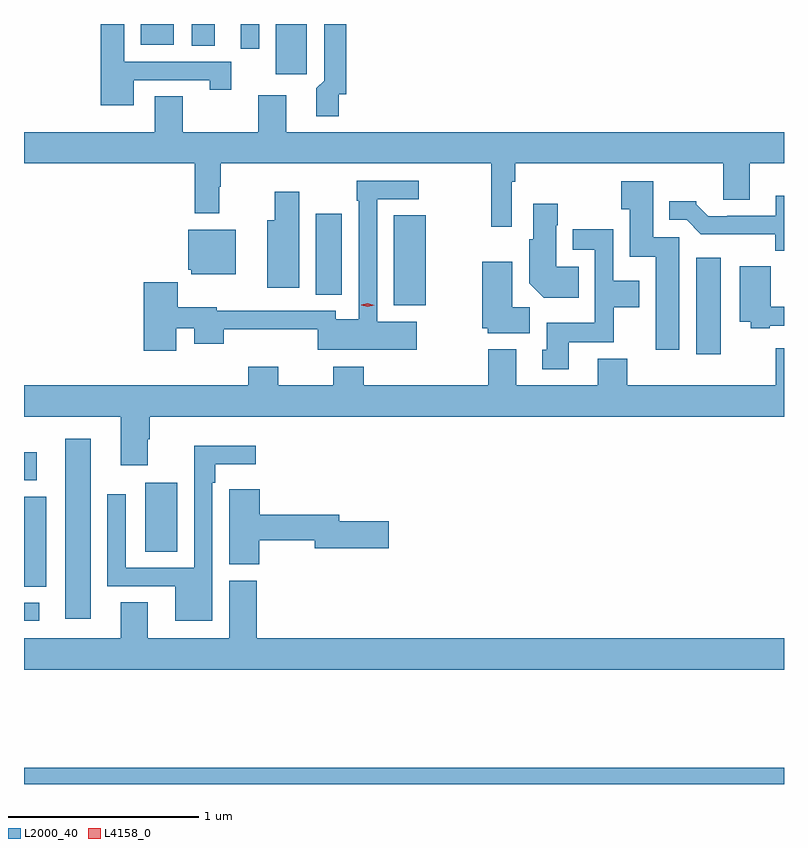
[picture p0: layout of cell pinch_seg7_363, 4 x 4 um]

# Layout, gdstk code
import gdstk
lib = gdstk.Library(unit=1e-6, precision=1e-09)
def R(c, l, rs):  # rectangles x0, y0, x1, y1
    for r in rs: c.add(gdstk.rectangle(r[:2], r[2:], *l))
def P(c, l, *ps):  # polygons
    for p in ps: c.add(gdstk.Polygon(p, *l))
L2000_40 = (2000, 40)
L4158_0 = (4158, 0)

pinch_seg7_363 = lib.new_cell('pinch_seg7_363')
R(pinch_seg7_363, L2000_40, [(396.47,1001.346,400.47,1001.432), (396.47,1002.204,396.55,1002.3), (396.686,1002.216,396.82,1003.162), (396.47,1002.385,396.586,1002.859), (397.109,1002.568,397.276,1002.931), (396.47,1002.944,396.538,1003.093), (400.007,1003.608,400.138,1004.116), (398.417,1003.865,398.584,1004.339), (398.006,1003.921,398.143,1004.347), (397.796,1005.081,397.959,1005.346), (397.611,1005.216,397.707,1005.346), (397.352,1005.232,397.474,1005.346), (397.085,1005.236,397.258,1005.346)])
P(pinch_seg7_363, L2000_40, [(398.126,1004.976),(398.165,1004.976),(398.165,1005.346),(398.049,1005.346),(398.049,1005.048),(398.008,1005.007),(398.008,1004.861),(398.126,1004.861)],
  [(397.048,1005.051),(397.448,1005.051),(397.448,1005),(397.561,1005),(397.561,1005.147),(396.997,1005.147),(396.997,1005.346),(396.874,1005.346),(396.874,1004.919),(397.048,1004.919)],
  [(397.305,1004.966),(397.157,1004.966),(397.157,1004.776),(396.47,1004.776),(396.47,1004.612),(397.369,1004.612),(397.369,1004.349),(397.498,1004.349),(397.498,1004.489),(397.505,1004.489),(397.505,1004.612),(398.928,1004.612),(398.928,1004.28),(399.036,1004.28),(399.036,1004.516),(399.056,1004.516),(399.056,1004.612),(400.151,1004.612),(400.151,1004.422),(400.291,1004.422),(400.291,1004.612),(400.47,1004.612),(400.47,1004.776),(397.849,1004.776),(397.849,1004.971),(397.702,1004.971),(397.702,1004.776),(397.305,1004.776)],
  [(397.27,1003.746),(397.367,1003.746),(397.367,1003.664),(397.52,1003.664),(397.52,1003.739),(398.016,1003.739),(398.016,1003.631),(398.536,1003.631),(398.536,1003.78),(398.328,1003.78),(398.328,1004.424),(398.548,1004.424),(398.548,1004.52),(398.22,1004.52),(398.22,1004.417),(398.232,1004.417),(398.232,1003.792),(398.112,1003.792),(398.112,1003.836),(397.7,1003.836),(397.7,1003.838),(397.485,1003.838),(397.485,1003.855),(397.278,1003.855),(397.278,1003.987),(397.1,1003.987),(397.1,1003.626),(397.27,1003.626)],
  [(399.919,1004.223),(399.781,1004.223),(399.781,1004.518),(399.613,1004.518),(399.613,1004.371),(399.659,1004.371),(399.659,1004.12),(399.794,1004.12),(399.794,1003.632),(399.919,1003.632)],
  [(397.918,1004.464),(397.789,1004.464),(397.789,1004.314),(397.751,1004.314),(397.751,1003.958),(397.918,1003.958)],
  [(400.47,1004.443),(400.427,1004.443),(400.427,1004.337),(400.171,1004.337),(400.171,1004.334),(400.072,1004.334),(400.008,1004.398),(400.008,1004.413),(399.866,1004.413),(399.866,1004.316),(399.957,1004.316),(400.033,1004.24),(400.425,1004.24),(400.425,1004.153),(400.47,1004.153)],
  [(399.389,1004.068),(399.271,1004.068),(399.271,1004.288),(399.279,1004.288),(399.279,1004.401),(399.149,1004.401),(399.149,1004.214),(399.128,1004.214),(399.128,1003.982),(399.206,1003.904),(399.389,1003.904)],
  [(399.337,1003.67),(399.573,1003.67),(399.573,1003.856),(399.709,1003.856),(399.709,1003.996),(399.57,1003.996),(399.57,1004.266),(399.357,1004.266),(399.357,1004.157),(399.474,1004.157),(399.474,1003.774),(399.221,1003.774),(399.221,1003.632),(399.197,1003.632),(399.197,1003.53),(399.337,1003.53)],
  [(397.585,1004.263),(397.334,1004.263),(397.334,1004.052),(397.35,1004.052),(397.35,1004.03),(397.585,1004.03)],
  [(399.133,1003.856),(399.04,1003.856),(399.04,1004.095),(398.882,1004.095),(398.882,1003.746),(398.91,1003.746),(398.91,1003.718),(399.133,1003.718)],
  [(400.396,1003.758),(400.47,1003.758),(400.47,1003.859),(400.4,1003.859),(400.4,1004.071),(400.238,1004.071),(400.238,1003.778),(400.296,1003.778),(400.296,1003.746),(400.396,1003.746)],
  [(397.12,1003.16),(397.133,1003.16),(397.133,1003.28),(400.47,1003.28),(400.47,1003.639),(400.427,1003.639),(400.427,1003.444),(399.644,1003.444),(399.644,1003.585),(399.491,1003.585),(399.491,1003.444),(399.061,1003.444),(399.061,1003.633),(398.914,1003.633),(398.914,1003.444),(398.258,1003.444),(398.258,1003.543),(398.098,1003.543),(398.098,1003.444),(397.809,1003.444),(397.809,1003.543),(397.649,1003.543),(397.649,1003.444),(396.47,1003.444),(396.47,1003.28),(396.98,1003.28),(396.98,1003.023),(397.12,1003.023)],
  [(397.461,1002.932),(397.477,1002.932),(397.477,1003.028),(397.69,1003.028),(397.69,1003.126),(397.365,1003.126),(397.365,1002.483),(397.005,1002.483),(397.005,1002.871),(396.909,1002.871),(396.909,1002.387),(397.265,1002.387),(397.265,1002.206),(397.461,1002.206)],
  [(397.707,1002.628),(398,1002.628),(398,1002.586),(398.389,1002.586),(398.389,1002.728),(398.128,1002.728),(398.128,1002.764),(397.712,1002.764),(397.712,1002.898),(397.551,1002.898),(397.551,1002.785),(397.55,1002.785),(397.55,1002.502),(397.707,1002.502)],
  [(400.47,1002.112),(397.694,1002.112),(397.694,1002.417),(397.55,1002.417),(397.55,1002.112),(397.12,1002.112),(397.12,1002.302),(396.98,1002.302),(396.98,1002.112),(396.47,1002.112),(396.47,1001.948),(400.47,1001.948)])
P(pinch_seg7_363, L4158_0, [(398.279,1003.857),(398.244,1003.867),(398.244,1003.868),(398.244,1003.868),(398.279,1003.876),(398.314,1003.866),(398.314,1003.865),(398.314,1003.865)])

lib.write_gds('pinch_seg7_363.gds')
